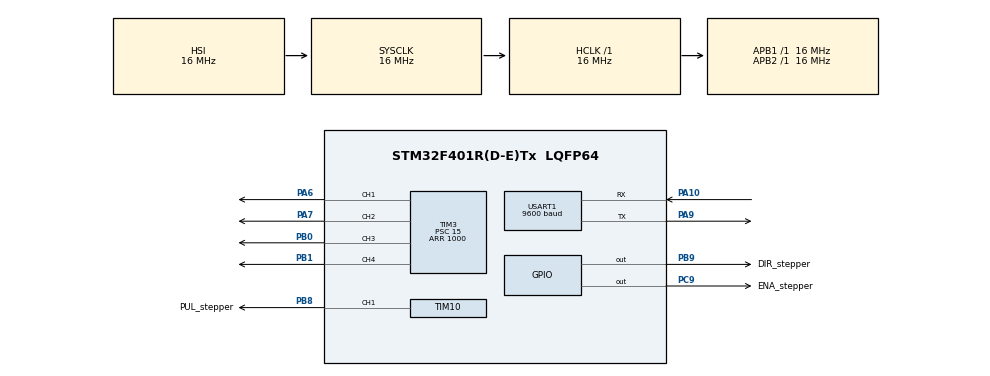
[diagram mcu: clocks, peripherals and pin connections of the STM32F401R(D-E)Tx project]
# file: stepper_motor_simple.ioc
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FREERTOS.INCLUDE_xEventGroupSetBitFromISR=1
FREERTOS.INCLUDE_xTaskGetHandle=1
FREERTOS.INCLUDE_xTimerPendFunctionCall=1
FREERTOS.Tasks01=ProgramingMode,0,500,programing_mode,Default,NULL,Dynamic,NULL,NULL;Interpreter,0,500,interpreter,Default,NULL,Dynamic,NULL,NULL;UART_comunication,0,160,uart_comunication,Default,NULL,Dynamic,NULL,NULL;ExecutionFromMemory,0,500,execution_from_memory,Default,NULL,Dynamic,NULL,NULL
FREERTOS.configMAX_TASK_NAME_LEN=32
FREERTOS.configUSE_TIMERS=1
Mcu.Family=STM32F4
Mcu.Name=STM32F401R(D-E)Tx
Mcu.Package=LQFP64
NVIC.PriorityGroup=NVIC_PRIORITYGROUP_4
NVIC.TIM2_IRQn=true\:1\:0\:true\:false\:true\:false\:false\:true\:true
NVIC.TIM3_IRQn=true\:6\:0\:true\:false\:true\:true\:true\:true\:true
NVIC.TimeBase=TIM2_IRQn
NVIC.TimeBaseIP=TIM2
NVIC.USART1_IRQn=true\:5\:0\:false\:false\:true\:true\:true\:true\:true
PA10.Mode=Asynchronous
PA10.Signal=USART1_RX
PA13.Mode=Serial_Wire
PA13.Signal=SYS_JTMS-SWDIO
PA14.Mode=Serial_Wire
PA14.Signal=SYS_JTCK-SWCLK
PA6.Signal=S_TIM3_CH1
PA7.Signal=S_TIM3_CH2
PA9.Mode=Asynchronous
PA9.Signal=USART1_TX
PB0.Signal=S_TIM3_CH3
PB1.Signal=S_TIM3_CH4
PB8.GPIO_Label=PUL_stepper
PB8.Signal=S_TIM10_CH1
PB9.GPIO_Label=DIR_stepper
PB9.GPIO_Speed=GPIO_SPEED_FREQ_HIGH
PB9.Signal=GPIO_Output
PC9.GPIO_Label=ENA_stepper
PC9.Signal=GPIO_Output
ProjectManager.HeapSize=0x200
ProjectManager.StackSize=0x400
ProjectManager.TargetToolchain=STM32CubeIDE
RCC.AHBFreq_Value=16000000
RCC.APB1Freq_Value=16000000
RCC.APB2Freq_Value=16000000
RCC.CortexFreq_Value=16000000
RCC.HSE_VALUE=25000000
RCC.HSI_VALUE=16000000
RCC.LSE_VALUE=32768
RCC.SYSCLKFreq_VALUE=16000000
RCC.VCOOutputFreq_Value=192000000
SH.S_TIM10_CH1.0=TIM10_CH1,PWM Generation1 CH1
SH.S_TIM3_CH1.0=TIM3_CH1,PWM Generation1 CH1
SH.S_TIM3_CH2.0=TIM3_CH2,PWM Generation2 CH2
SH.S_TIM3_CH3.0=TIM3_CH3,PWM Generation3 CH3
SH.S_TIM3_CH4.0=TIM3_CH4,PWM Generation4 CH4
TIM10.AutoReloadPreload=TIM_AUTORELOAD_PRELOAD_ENABLE
TIM10.Channel=TIM_CHANNEL_1
TIM10.Period=10000
TIM10.Prescaler=15
TIM10.Pulse=5000
TIM3.Channel-PWM\ Generation1\ CH1=TIM_CHANNEL_1
TIM3.Channel-PWM\ Generation2\ CH2=TIM_CHANNEL_2
TIM3.Channel-PWM\ Generation3\ CH3=TIM_CHANNEL_3
TIM3.Channel-PWM\ Generation4\ CH4=TIM_CHANNEL_4
TIM3.Period=1000
TIM3.Prescaler=15
TIM3.Pulse-PWM\ Generation1\ CH1=980
TIM3.Pulse-PWM\ Generation2\ CH2=980
TIM3.Pulse-PWM\ Generation3\ CH3=980
TIM3.Pulse-PWM\ Generation4\ CH4=980
USART1.BaudRate=9600
USART1.Parity=PARITY_ODD
USART1.StopBits=STOPBITS_2
USART1.VirtualMode=VM_ASYNC
VP_FREERTOS_VS_CMSIS_V1.Mode=CMSIS_V1
VP_SYS_VS_tim2.Mode=TIM2
VP_TIM10_VS_ClockSourceINT.Mode=Enable_Timer
VP_TIM3_VS_ClockSourceINT.Mode=Internal
board=custom

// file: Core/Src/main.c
/* USER CODE BEGIN Header */
/**
  ******************************************************************************
  * @file           : main.c
  * @brief          : Main program body
  ******************************************************************************
  * @attention
  *
  * Copyright (c) 2023 STMicroelectronics.
  * All rights reserved.
  *
  * This software is licensed under terms that can be found in the LICENSE file
  * in the root directory of this software component.
  * If no LICENSE file comes with this software, it is provided AS-IS.
  *
  ******************************************************************************
  */
/* USER CODE END Header */
#include "main.h"
#include "cmsis_os.h"

TIM_HandleTypeDef htim3;
TIM_HandleTypeDef htim10;

UART_HandleTypeDef huart1;

osThreadId ProgramingModeHandle;
osThreadId InterpreterHandle;
osThreadId UART_comunicationHandle;
osThreadId ExecutionFromMemoryHandle;
/* USER CODE BEGIN PV */
uint8_t counter_for_steps = 0;
QueueHandle_t uart_queue_rx;
//QueueHandle_t instruction_S_value;

struct exm_type{
	char execution_memory[119]; //Program storage capability of GS-C200S
	uint8_t memory_pointer;
	uint8_t start_of_instruction;
	uint8_t size_of_instruction;
	uint16_t start_speed_value;

	void (*function_pointer_S)(void);
}exm;

EventGroupHandle_t EventGroup;
/* Event Group description
 *  0x80 Programming mode for GS-200S
 *	0x40 Execution mode
 */

/* USER CODE END PV */

void SystemClock_Config(void);
static void MX_GPIO_Init(void);
static void MX_TIM3_Init(void);
static void MX_USART1_UART_Init(void);
static void MX_TIM10_Init(void);
void programing_mode(void const * argument);
void interpreter(void const * argument);
void uart_comunication(void const * argument);
void execution_from_memory(void const * argument);

/* USER CODE BEGIN PFP */
void uart1_rx_callback();
void function_of_S();
void write_to_exm(uint8_t* start_of_data, uint8_t size_of_data);
void erase_exm();
void perform_instruction_from_exm();
/* USER CODE END PFP */

int main(void)
{
  /* USER CODE BEGIN 1 */
	counter_for_steps = 0;

	for(int i = 0; i < sizeof(exm.execution_memory); i++){
		exm.execution_memory[i] = 0;
	}
	exm.memory_pointer = 0;
	exm.size_of_instruction = 0;
	exm.start_of_instruction = 0;
	exm.function_pointer_S = function_of_S;
  /* USER CODE END 1 */

  /* MCU Configuration--------------------------------------------------------*/

  /* Reset of all peripherals, Initializes the Flash interface and the Systick. */
  HAL_Init();

  /* Configure the system clock */
  SystemClock_Config();

  /* Initialize all configured peripherals */
  MX_GPIO_Init();
  MX_TIM3_Init();
  MX_USART1_UART_Init();
  MX_TIM10_Init();
  /* USER CODE BEGIN 2 */
  HAL_TIM_Base_Start_IT(&htim3);
  uint16_t base = 2000;
  TIM3->ARR = base;
  TIM3->CCR1 = (uint16_t) base*0.98;
  TIM3->CCR2 = (uint16_t) base*0.98;
  TIM3->CCR3 = (uint16_t) base*0.98;
  TIM3->CCR4 = (uint16_t) base*0.98;

  USART1->CR1 |= USART_CR1_RXNEIE;
  USART1->CR1 |= USART_CR1_TE;
  USART1->CR1 |= USART_CR1_RE;
  USART1->CR1 |= USART_CR1_UE; //USART enable

  GPIOC->ODR &= ~GPIO_ODR_OD9; //Enable stepper driver
  HAL_TIM_Base_Start_IT(&htim10);

  /* USER CODE END 2 */

  /* USER CODE BEGIN RTOS_SEMAPHORES */
  /* add semaphores, ... */
  EventGroup = xEventGroupCreate();
  xEventGroupSetBits(EventGroup, 0x40); // Start the Execution mode
  /* USER CODE END RTOS_SEMAPHORES */

  /* USER CODE BEGIN RTOS_QUEUES */
  /* add queues, ... */
  uart_queue_rx = xQueueCreate(10, 1);
  //instruction_S_value = xQueueCreate(5, 2);

  /* USER CODE END RTOS_QUEUES */

  /* Create the thread(s) */
  /* definition and creation of ProgramingMode */
  osThreadDef(ProgramingMode, programing_mode, osPriorityNormal, 0, 500);
  ProgramingModeHandle = osThreadCreate(osThread(ProgramingMode), NULL);

  /* definition and creation of Interpreter */
  osThreadDef(Interpreter, interpreter, osPriorityNormal, 0, 500);
  InterpreterHandle = osThreadCreate(osThread(Interpreter), NULL);

  /* definition and creation of UART_comunication */
  osThreadDef(UART_comunication, uart_comunication, osPriorityNormal, 0, 160);
  UART_comunicationHandle = osThreadCreate(osThread(UART_comunication), NULL);

  /* definition and creation of ExecutionFromMemory */
  osThreadDef(ExecutionFromMemory, execution_from_memory, osPriorityNormal, 0, 500);
  ExecutionFromMemoryHandle = osThreadCreate(osThread(ExecutionFromMemory), NULL);

  /* Start scheduler */
  osKernelStart();

  /* We should never get here as control is now taken by the scheduler */
  /* Infinite loop */
  while (1)
  {

  }
}

void SystemClock_Config(void)
{
  RCC_OscInitTypeDef RCC_OscInitStruct = {0};
  RCC_ClkInitTypeDef RCC_ClkInitStruct = {0};

  /** Configure the main internal regulator output voltage
  */
  __HAL_RCC_PWR_CLK_ENABLE();
  __HAL_PWR_VOLTAGESCALING_CONFIG(PWR_REGULATOR_VOLTAGE_SCALE2);

  /** Initializes the RCC Oscillators according to the specified parameters
  * in the RCC_OscInitTypeDef structure.
  */
  RCC_OscInitStruct.OscillatorType = RCC_OSCILLATORTYPE_HSI;
  RCC_OscInitStruct.HSIState = RCC_HSI_ON;
  RCC_OscInitStruct.HSICalibrationValue = RCC_HSICALIBRATION_DEFAULT;
  RCC_OscInitStruct.PLL.PLLState = RCC_PLL_NONE;
  if (HAL_RCC_OscConfig(&RCC_OscInitStruct) != HAL_OK)
  {
    Error_Handler();
  }

  /** Initializes the CPU, AHB and APB buses clocks
  */
  RCC_ClkInitStruct.ClockType = RCC_CLOCKTYPE_HCLK|RCC_CLOCKTYPE_SYSCLK
                              |RCC_CLOCKTYPE_PCLK1|RCC_CLOCKTYPE_PCLK2;
  RCC_ClkInitStruct.SYSCLKSource = RCC_SYSCLKSOURCE_HSI;
  RCC_ClkInitStruct.AHBCLKDivider = RCC_SYSCLK_DIV1;
  RCC_ClkInitStruct.APB1CLKDivider = RCC_HCLK_DIV1;
  RCC_ClkInitStruct.APB2CLKDivider = RCC_HCLK_DIV1;

  if (HAL_RCC_ClockConfig(&RCC_ClkInitStruct, FLASH_LATENCY_0) != HAL_OK)
  {
    Error_Handler();
  }
}

static void MX_TIM3_Init(void)
{

  TIM_ClockConfigTypeDef sClockSourceConfig = {0};
  TIM_MasterConfigTypeDef sMasterConfig = {0};
  TIM_OC_InitTypeDef sConfigOC = {0};

  htim3.Instance = TIM3;
  htim3.Init.Prescaler = 15;
  htim3.Init.CounterMode = TIM_COUNTERMODE_UP;
  htim3.Init.Period = 1000;
  htim3.Init.ClockDivision = TIM_CLOCKDIVISION_DIV1;
  htim3.Init.AutoReloadPreload = TIM_AUTORELOAD_PRELOAD_DISABLE;
  if (HAL_TIM_Base_Init(&htim3) != HAL_OK)
  {
    Error_Handler();
  }
  sClockSourceConfig.ClockSource = TIM_CLOCKSOURCE_INTERNAL;
  if (HAL_TIM_ConfigClockSource(&htim3, &sClockSourceConfig) != HAL_OK)
  {
    Error_Handler();
  }
  if (HAL_TIM_PWM_Init(&htim3) != HAL_OK)
  {
    Error_Handler();
  }
  sMasterConfig.MasterOutputTrigger = TIM_TRGO_RESET;
  sMasterConfig.MasterSlaveMode = TIM_MASTERSLAVEMODE_DISABLE;
  if (HAL_TIMEx_MasterConfigSynchronization(&htim3, &sMasterConfig) != HAL_OK)
  {
    Error_Handler();
  }
  sConfigOC.OCMode = TIM_OCMODE_PWM1;
  sConfigOC.Pulse = 980;
  sConfigOC.OCPolarity = TIM_OCPOLARITY_HIGH;
  sConfigOC.OCFastMode = TIM_OCFAST_DISABLE;
  if (HAL_TIM_PWM_ConfigChannel(&htim3, &sConfigOC, TIM_CHANNEL_1) != HAL_OK)
  {
    Error_Handler();
  }
  if (HAL_TIM_PWM_ConfigChannel(&htim3, &sConfigOC, TIM_CHANNEL_2) != HAL_OK)
  {
    Error_Handler();
  }
  if (HAL_TIM_PWM_ConfigChannel(&htim3, &sConfigOC, TIM_CHANNEL_3) != HAL_OK)
  {
    Error_Handler();
  }
  if (HAL_TIM_PWM_ConfigChannel(&htim3, &sConfigOC, TIM_CHANNEL_4) != HAL_OK)
  {
    Error_Handler();
  }
  HAL_TIM_MspPostInit(&htim3);

}

static void MX_TIM10_Init(void)
{

  TIM_OC_InitTypeDef sConfigOC = {0};

  htim10.Instance = TIM10;
  htim10.Init.Prescaler = 15;
  htim10.Init.CounterMode = TIM_COUNTERMODE_UP;
  htim10.Init.Period = 10000;
  htim10.Init.ClockDivision = TIM_CLOCKDIVISION_DIV1;
  htim10.Init.AutoReloadPreload = TIM_AUTORELOAD_PRELOAD_ENABLE;
  if (HAL_TIM_Base_Init(&htim10) != HAL_OK)
  {
    Error_Handler();
  }
  if (HAL_TIM_PWM_Init(&htim10) != HAL_OK)
  {
    Error_Handler();
  }
  sConfigOC.OCMode = TIM_OCMODE_PWM1;
  sConfigOC.Pulse = 5000;
  sConfigOC.OCPolarity = TIM_OCPOLARITY_HIGH;
  sConfigOC.OCFastMode = TIM_OCFAST_DISABLE;
  if (HAL_TIM_PWM_ConfigChannel(&htim10, &sConfigOC, TIM_CHANNEL_1) != HAL_OK)
  {
    Error_Handler();
  }
  HAL_TIM_MspPostInit(&htim10);

}

static void MX_USART1_UART_Init(void)
{

  huart1.Instance = USART1;
  huart1.Init.BaudRate = 9600;
  huart1.Init.WordLength = UART_WORDLENGTH_8B;
  huart1.Init.StopBits = UART_STOPBITS_2;
  huart1.Init.Parity = UART_PARITY_ODD;
  huart1.Init.Mode = UART_MODE_TX_RX;
  huart1.Init.HwFlowCtl = UART_HWCONTROL_NONE;
  huart1.Init.OverSampling = UART_OVERSAMPLING_16;
  if (HAL_UART_Init(&huart1) != HAL_OK)
  {
    Error_Handler();
  }

}

static void MX_GPIO_Init(void)
{
  GPIO_InitTypeDef GPIO_InitStruct = {0};

  /* GPIO Ports Clock Enable */
  __HAL_RCC_GPIOA_CLK_ENABLE();
  __HAL_RCC_GPIOB_CLK_ENABLE();
  __HAL_RCC_GPIOC_CLK_ENABLE();

  /*Configure GPIO pin Output Level */
  HAL_GPIO_WritePin(ENA_stepper_GPIO_Port, ENA_stepper_Pin, GPIO_PIN_RESET);

  /*Configure GPIO pin Output Level */
  HAL_GPIO_WritePin(DIR_stepper_GPIO_Port, DIR_stepper_Pin, GPIO_PIN_RESET);

  /*Configure GPIO pin : ENA_stepper_Pin */
  GPIO_InitStruct.Pin = ENA_stepper_Pin;
  GPIO_InitStruct.Mode = GPIO_MODE_OUTPUT_PP;
  GPIO_InitStruct.Pull = GPIO_NOPULL;
  GPIO_InitStruct.Speed = GPIO_SPEED_FREQ_LOW;
  HAL_GPIO_Init(ENA_stepper_GPIO_Port, &GPIO_InitStruct);

  /*Configure GPIO pin : DIR_stepper_Pin */
  GPIO_InitStruct.Pin = DIR_stepper_Pin;
  GPIO_InitStruct.Mode = GPIO_MODE_OUTPUT_PP;
  GPIO_InitStruct.Pull = GPIO_NOPULL;
  GPIO_InitStruct.Speed = GPIO_SPEED_FREQ_HIGH;
  HAL_GPIO_Init(DIR_stepper_GPIO_Port, &GPIO_InitStruct);

}

/* USER CODE BEGIN 4 */

void uart1_rx_callback(void)
{
	xQueueSendToBackFromISR(uart_queue_rx, (void*)&(USART1->DR), pdTRUE);
	__asm__ volatile("NOP");

}

void write_to_exm(uint8_t* start_of_data, uint8_t size_of_data){
	for(int i = 0; i < size_of_data; i++){
		exm.execution_memory[exm.memory_pointer] = start_of_data[i];
		exm.memory_pointer++;
	}
}

void erase_exm(){
	for(int i = 0; i < sizeof(exm.execution_memory); i++){
		exm.execution_memory[i] = 0;
	}
}

void perform_instruction_from_exm(){

}

void function_of_S(){
	uint32_t base = 1000000/exm.start_speed_value; // Speed of HCLK is 16MHz but prescaler for TIM3 is 15 (15+1) so you receive 1MHz clock for TIM3
	  TIM3->ARR = base;
	  TIM3->CCR1 = (uint16_t) base*0.99;
	  TIM3->CCR2 = (uint16_t) base*0.99;
	  TIM3->CCR3 = (uint16_t) base*0.99;
	  TIM3->CCR4 = (uint16_t) base*0.99;
	__asm__ volatile("NOP");
}

/* USER CODE END 4 */

void programing_mode(void const * argument)
{
  /* USER CODE BEGIN 5 */
  /* Infinite loop */
  for(;;)
  {
	  xEventGroupWaitBits(EventGroup, 0x80, pdFALSE, pdTRUE, portMAX_DELAY);
	  HAL_UART_Transmit(&huart1, "Programming mode", 17, 100);
	  vTaskDelay(200);

  }
  /* USER CODE END 5 */
}

void interpreter(void const * argument)
{
  /* USER CODE BEGIN interpreter */
	char pData;
  /* Infinite loop */
  for(;;)
  {
	  xQueueReceive(uart_queue_rx, &pData, portMAX_DELAY);
	  HAL_UART_Transmit(&huart1, &pData, 1, 10);
	  if ((pData & (1<<7)) == 0x80){  //Check odd parity
		  pData &= ~(1<<7);
	  }
	  __asm__ volatile("NOP");
	  switch (pData) {
		case 'P':
			xQueueReceive(uart_queue_rx, &pData, 5);
			HAL_UART_Transmit(&huart1, &pData, 1, 10);
				  if ((pData & (1<<7)) == 0x80){ //Check odd parity
					  pData &= ~(1<<7);
				  }
			__asm__ volatile("NOP");
			switch (pData) {
				case 'o':
					xEventGroupClearBits(EventGroup, 0x40);
					exm.memory_pointer = 0;
					erase_exm();
					xEventGroupSetBits(EventGroup, 0x80);
					break;
				case 'x':
					xEventGroupClearBits(EventGroup, 0x80);
					exm.memory_pointer = 0;
					xEventGroupSetBits(EventGroup, 0x40);
					break;
				default:
					break;
			}
			break;
	    case 'E':
	    	xEventGroupClearBits(EventGroup, 0x80);
	    	exm.memory_pointer = 0;
	    	xEventGroupSetBits(EventGroup, 0x40);
	    	break;
		case 'S':
			if((xEventGroupGetBits(EventGroup) & (1<<7)) != 0x80) break; // if  Programming mode is OFF
			exm.start_speed_value = 0;
			char temp = 0;
			for(int i = 0; i < 4; i++){
				xQueueReceive(uart_queue_rx, &temp, 5);
				if((temp == 13) || (temp == 0) || (i == 3)) break;
				if(i == 3) break;
				if ((temp & (1<<7)) == 0x80){
					temp &= ~(1<<7);
			    }
				exm.start_speed_value = (exm.start_speed_value*10) + (temp - 48);
			}
			uint8_t data[4] = {'S', (uint8_t)(exm.start_speed_value), (uint8_t)((exm.start_speed_value>>8)), 0};
			write_to_exm(data, sizeof(data));
			//exm.
			__asm__ volatile("NOP");
			break;
	    case 0:
			break;
		default:
			break;
	}

	  pData = 0;
  }
  /* USER CODE END interpreter */
}

void uart_comunication(void const * argument)
{
  /* USER CODE BEGIN uart_comunication */
	GPIOB->ODR |= GPIO_ODR_OD9;
	HAL_TIM_PWM_Start(&htim10, TIM_CHANNEL_1);

  /* Infinite loop */
  for(;;)
  {

  }
  /* USER CODE END uart_comunication */
}

void execution_from_memory(void const * argument)
{
  /* USER CODE BEGIN execution_from_memory */
  /* Infinite loop */
  for(;;)
  {
	  xEventGroupWaitBits(EventGroup, 0x40, pdFALSE, pdTRUE, portMAX_DELAY);
	  HAL_UART_Transmit(&huart1, "Execution mode", 15, 100);
	  perform_instruction_from_exm();

	  vTaskDelay(200);
  }
  /* USER CODE END execution_from_memory */
}

void HAL_TIM_PeriodElapsedCallback(TIM_HandleTypeDef *htim)
{
  if (htim->Instance == TIM2) {
    HAL_IncTick();
  }
  /* USER CODE BEGIN Callback 1 */
  if (htim->Instance == TIM3) {
		switch (counter_for_steps) {
			case 0:
				HAL_TIM_PWM_Stop(&htim3, TIM_CHANNEL_3);
				HAL_TIM_PWM_Stop(&htim3, TIM_CHANNEL_4);
				HAL_TIM_PWM_Start(&htim3, TIM_CHANNEL_1);
				HAL_TIM_PWM_Start(&htim3, TIM_CHANNEL_2);
				break;
			case 1:
				HAL_TIM_PWM_Stop(&htim3, TIM_CHANNEL_1);
				HAL_TIM_PWM_Stop(&htim3, TIM_CHANNEL_4);
				HAL_TIM_PWM_Start(&htim3, TIM_CHANNEL_2);
				HAL_TIM_PWM_Start(&htim3, TIM_CHANNEL_3);
				break;
			case 2:
				HAL_TIM_PWM_Stop(&htim3, TIM_CHANNEL_1);
				HAL_TIM_PWM_Stop(&htim3, TIM_CHANNEL_2);
				HAL_TIM_PWM_Start(&htim3, TIM_CHANNEL_3);
				HAL_TIM_PWM_Start(&htim3, TIM_CHANNEL_4);
				break;
			case 3:
				HAL_TIM_PWM_Stop(&htim3, TIM_CHANNEL_2);
				HAL_TIM_PWM_Stop(&htim3, TIM_CHANNEL_3);
				HAL_TIM_PWM_Start(&htim3, TIM_CHANNEL_4);
				HAL_TIM_PWM_Start(&htim3, TIM_CHANNEL_1);
				break;
			default:
				break;
		}
		counter_for_steps == 3 ? counter_for_steps = 0 : counter_for_steps++;
  }
  /* USER CODE END Callback 1 */
}

void Error_Handler(void)
{
  __disable_irq();
  while (1)
  {
  }
}
